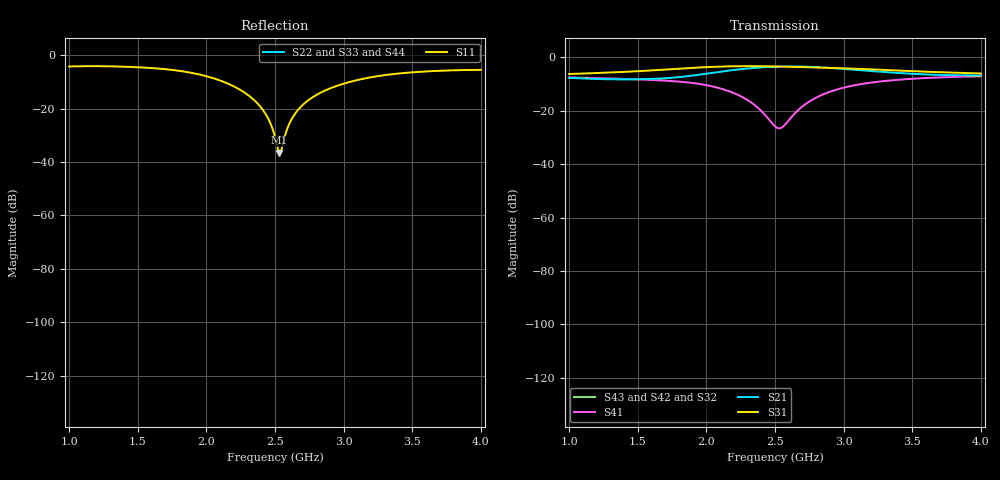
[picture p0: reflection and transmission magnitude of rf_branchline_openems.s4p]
! kicad2openems openEMS FDTD (rf_branchline)
! ports: 1=P1, 2=P2, 3=P3, 4=P4
# Hz S RI R 50
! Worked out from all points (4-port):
!   301 points, 1 GHz to 4 GHz, reference 50 ohm
!   strongest paths, dB at 1 GHz, 1.75 GHz, 2.5 GHz, 3.25 GHz, 4 GHz:
!     S31: -6.2, -4.4, -3.4, -4.6, -6.1
!     S21: -7.7, -7.6, -3.5, -5.3, -6.8
!     S41: -7.5, -8.9, -25.9, -9.1, -7.1
!     S43: -, -, -, -, -
!     S42: -, -, -, -, -
!     S32: -, -, -, -, -
!   lowest |S11| = -36.6 dB at 2.53 GHz (marker M1), VSWR 1.03, Z = 49.7 + j1.46 ohm
!   |S11| at or under -10 dB: 2.126 GHz to 3.047 GHz (921.8 MHz wide, 35.6 % of centre)
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1e9  -0.5098 0.3415  0.1786 -0.3721  0.0311 -0.4865  0.119 -0.403
     0.1786 -0.3721  0 0  0 0  0 0
     0.0311 -0.4865  0 0  0 0  0 0
     0.119 -0.403  0 0  0 0  0 0
2.14e9  0.1468 0.2681  -0.2285 -0.5044  -0.6462 0.1935  -0.2419 -0.0322
        -0.2285 -0.5044  0 0  0 0  0 0
        -0.6462 0.1935  0 0  0 0  0 0
        -0.2419 -0.0322  0 0  0 0  0 0
2.41e9  0.0711 0.0639  -0.4948 -0.4221  -0.4535 0.5074  -0.0921 0.0155
        -0.4948 -0.4221  0 0  0 0  0 0
        -0.4535 0.5074  0 0  0 0  0 0
        -0.0921 0.0155  0 0  0 0  0 0
2.53e9  -0.00235 0.0147  -0.5918 -0.3147  -0.3174 0.593  -0.0388 -0.0261
        -0.5918 -0.3147  0 0  0 0  0 0
        -0.3174 0.593  0 0  0 0  0 0
        -0.0388 -0.0261  0 0  0 0  0 0
2.66e9  -0.0892 -0.00467  -0.6508 -0.1683  -0.1572 0.6415  -0.0205 -0.0955
        -0.6508 -0.1683  0 0  0 0  0 0
        -0.1572 0.6415  0 0  0 0  0 0
        -0.0205 -0.0955  0 0  0 0  0 0
2.89e9  -0.2292 0.0354  -0.6294 0.0862  0.1205 0.6241  -0.0946 -0.2007
        -0.6294 0.0862  0 0  0 0  0 0
        0.1205 0.6241  0 0  0 0  0 0
        -0.0946 -0.2007  0 0  0 0  0 0
4e9  -0.0899 0.5224  -0.1067 0.4462  0.4375 -0.2379  -0.3599 0.2579
     -0.1067 0.4462  0 0  0 0  0 0
     0.4375 -0.2379  0 0  0 0  0 0
     -0.3599 0.2579  0 0  0 0  0 0
